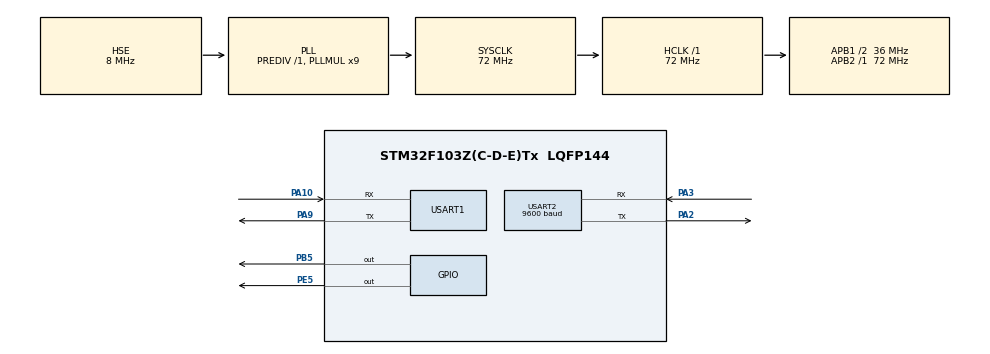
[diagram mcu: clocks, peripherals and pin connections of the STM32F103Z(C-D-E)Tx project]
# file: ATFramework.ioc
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Dma.Request0=USART2_RX
Dma.USART2_RX.0.Direction=DMA_PERIPH_TO_MEMORY
Dma.USART2_RX.0.Instance=DMA1_Channel6
Dma.USART2_RX.0.MemDataAlignment=DMA_MDATAALIGN_BYTE
Dma.USART2_RX.0.MemInc=DMA_MINC_ENABLE
Dma.USART2_RX.0.Mode=DMA_NORMAL
Dma.USART2_RX.0.PeriphDataAlignment=DMA_PDATAALIGN_BYTE
Dma.USART2_RX.0.PeriphInc=DMA_PINC_DISABLE
Dma.USART2_RX.0.Priority=DMA_PRIORITY_LOW
FREERTOS.Tasks01=defaultTask,0,128,StartDefaultTask,Default,NULL,Dynamic,NULL,NULL;LedTask,-2,128,LEDStartTask,Default,NULL,Dynamic,NULL,NULL;ATTask,0,128,ATStartTask,Default,NULL,Dynamic,NULL,NULL
Mcu.Family=STM32F1
Mcu.Name=STM32F103Z(C-D-E)Tx
Mcu.Package=LQFP144
NVIC.DMA1_Channel6_IRQn=true\:5\:0\:false\:false\:true\:true\:false\:true
NVIC.PriorityGroup=NVIC_PRIORITYGROUP_4
NVIC.TIM2_IRQn=true\:0\:0\:false\:false\:true\:false\:false\:true
NVIC.TimeBase=TIM2_IRQn
NVIC.TimeBaseIP=TIM2
NVIC.USART2_IRQn=true\:5\:0\:false\:false\:true\:true\:true\:true
OSC_IN.Mode=HSE-External-Oscillator
OSC_IN.Signal=RCC_OSC_IN
OSC_OUT.Mode=HSE-External-Oscillator
OSC_OUT.Signal=RCC_OSC_OUT
PA10.Mode=Asynchronous
PA10.Signal=USART1_RX
PA13.Mode=Serial_Wire
PA13.Signal=SYS_JTMS-SWDIO
PA14.Mode=Serial_Wire
PA14.Signal=SYS_JTCK-SWCLK
PA2.Mode=Asynchronous
PA2.Signal=USART2_TX
PA3.Mode=Asynchronous
PA3.Signal=USART2_RX
PA9.Mode=Asynchronous
PA9.Signal=USART1_TX
PB5.Signal=GPIO_Output
PE5.Signal=GPIO_Output
ProjectManager.HeapSize=0x1000
ProjectManager.StackSize=0x1000
ProjectManager.TargetToolchain=MDK-ARM V5
RCC.AHBFreq_Value=72000000
RCC.APB1CLKDivider=RCC_HCLK_DIV2
RCC.APB1Freq_Value=36000000
RCC.APB1TimFreq_Value=72000000
RCC.APB2Freq_Value=72000000
RCC.APB2TimFreq_Value=72000000
RCC.HCLKFreq_Value=72000000
RCC.PLLMUL=RCC_PLL_MUL9
RCC.PLLSourceVirtual=RCC_PLLSOURCE_HSE
RCC.SYSCLKFreq_VALUE=72000000
RCC.SYSCLKSource=RCC_SYSCLKSOURCE_PLLCLK
RCC.USBFreq_Value=72000000
USART1.VirtualMode=VM_ASYNC
USART2.BaudRate=9600
USART2.VirtualMode=VM_ASYNC
VP_FREERTOS_VS_CMSIS_V1.Mode=CMSIS_V1
VP_SYS_VS_tim2.Mode=TIM2
board=custom

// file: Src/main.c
/* USER CODE BEGIN Header */
/**
  ******************************************************************************
  * @file           : main.c
  * @brief          : Main program body
  ******************************************************************************
  * @attention
  *
  * <h2><center>&copy; Copyright (c) 2019 STMicroelectronics.
  * All rights reserved.</center></h2>
  *
  * This software component is licensed by ST under Ultimate Liberty license
  * SLA0044, the "License"; You may not use this file except in compliance with
  * the License. You may obtain a copy of the License at:
  *                             www.st.com/SLA0044
  *
  ******************************************************************************
  */
/* USER CODE END Header */

#include "main.h"
#include "cmsis_os.h"
#include "dma.h"
#include "usart.h"
#include "gpio.h"

/* USER CODE BEGIN Includes */
#include "Hardware.h"
#include <cm_backtrace.h>

#define HARDWARE_VERSION               "V1.0.0"
#define SOFTWARE_VERSION               "V0.1.0"

/* USER CODE END Includes */

void SystemClock_Config(void);
void MX_FREERTOS_Init(void);

int main(void)
{

  /* MCU Configuration--------------------------------------------------------*/

  /* Reset of all peripherals, Initializes the Flash interface and the Systick. */
  HAL_Init();

  /* Configure the system clock */
  SystemClock_Config();

  /* Initialize all configured peripherals */
  MX_GPIO_Init();
  MX_DMA_Init();
  MX_USART1_UART_Init();
  MX_USART2_UART_Init();
  /* USER CODE BEGIN 2 */
//	cm_backtrace_init("ATFramework", HARDWARE_VERSION, SOFTWARE_VERSION);
	printf("System initialize finish. Starting..\r\n");
	ATFormInit();

  /* USER CODE END 2 */

  /* Call init function for freertos objects (in freertos.c) */
  MX_FREERTOS_Init();

  /* Start scheduler */
  osKernelStart();

  /* We should never get here as control is now taken by the scheduler */

  /* Infinite loop */
  while (1)
  {

  }
}

void SystemClock_Config(void)
{
  RCC_OscInitTypeDef RCC_OscInitStruct = {0};
  RCC_ClkInitTypeDef RCC_ClkInitStruct = {0};

  /** Initializes the CPU, AHB and APB busses clocks
  */
  RCC_OscInitStruct.OscillatorType = RCC_OSCILLATORTYPE_HSE;
  RCC_OscInitStruct.HSEState = RCC_HSE_ON;
  RCC_OscInitStruct.HSEPredivValue = RCC_HSE_PREDIV_DIV1;
  RCC_OscInitStruct.HSIState = RCC_HSI_ON;
  RCC_OscInitStruct.PLL.PLLState = RCC_PLL_ON;
  RCC_OscInitStruct.PLL.PLLSource = RCC_PLLSOURCE_HSE;
  RCC_OscInitStruct.PLL.PLLMUL = RCC_PLL_MUL9;
  if (HAL_RCC_OscConfig(&RCC_OscInitStruct) != HAL_OK)
  {
    Error_Handler();
  }
  /** Initializes the CPU, AHB and APB busses clocks
  */
  RCC_ClkInitStruct.ClockType = RCC_CLOCKTYPE_HCLK|RCC_CLOCKTYPE_SYSCLK
                              |RCC_CLOCKTYPE_PCLK1|RCC_CLOCKTYPE_PCLK2;
  RCC_ClkInitStruct.SYSCLKSource = RCC_SYSCLKSOURCE_PLLCLK;
  RCC_ClkInitStruct.AHBCLKDivider = RCC_SYSCLK_DIV1;
  RCC_ClkInitStruct.APB1CLKDivider = RCC_HCLK_DIV2;
  RCC_ClkInitStruct.APB2CLKDivider = RCC_HCLK_DIV1;

  if (HAL_RCC_ClockConfig(&RCC_ClkInitStruct, FLASH_LATENCY_2) != HAL_OK)
  {
    Error_Handler();
  }
}

void HAL_TIM_PeriodElapsedCallback(TIM_HandleTypeDef *htim)
{
  if (htim->Instance == TIM2) {
    HAL_IncTick();
  }
}

void Error_Handler(void)
{
}

/************************ (C) COPYRIGHT STMicroelectronics *****END OF FILE****/

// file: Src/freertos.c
/* USER CODE BEGIN Header */
/**
  ******************************************************************************
  * File Name          : freertos.c
  * Description        : Code for freertos applications
  ******************************************************************************
  * @attention
  *
  * <h2><center>&copy; Copyright (c) 2019 STMicroelectronics.
  * All rights reserved.</center></h2>
  *
  * This software component is licensed by ST under Ultimate Liberty license
  * SLA0044, the "License"; You may not use this file except in compliance with
  * the License. You may obtain a copy of the License at:
  *                             www.st.com/SLA0044
  *
  ******************************************************************************
  */
/* USER CODE END Header */

#include "FreeRTOS.h"
#include "task.h"
#include "main.h"
#include "cmsis_os.h"

/* USER CODE BEGIN Includes */
#include <cm_backtrace.h>
#include "main.h"
#include "AT.h"

/* USER CODE END Includes */

osThreadId defaultTaskHandle;
osThreadId LedTaskHandle;
osThreadId ATTaskHandle;

void StartDefaultTask(void const * argument);
void LEDStartTask(void const * argument);
void ATStartTask(void const * argument);

void MX_FREERTOS_Init(void); /* (MISRA C 2004 rule 8.1) */

void MX_FREERTOS_Init(void) {

  /* Create the thread(s) */
  /* definition and creation of defaultTask */
  osThreadDef(defaultTask, StartDefaultTask, osPriorityNormal, 0, 128);
  defaultTaskHandle = osThreadCreate(osThread(defaultTask), NULL);

  /* definition and creation of LedTask */
  osThreadDef(LedTask, LEDStartTask, osPriorityLow, 0, 128);
  LedTaskHandle = osThreadCreate(osThread(LedTask), NULL);

  /* definition and creation of ATTask */
  osThreadDef(ATTask, ATStartTask, osPriorityNormal, 0, 128);
  ATTaskHandle = osThreadCreate(osThread(ATTask), NULL);

}

void StartDefaultTask(void const * argument)
{

  /* USER CODE BEGIN StartDefaultTask */
  /* Infinite loop */
  for(;;)
  {
	HAL_GPIO_TogglePin(GPIOE,GPIO_PIN_5);
    osDelay(200);

  }
  /* USER CODE END StartDefaultTask */
}

void LEDStartTask(void const * argument)
{
  /* USER CODE BEGIN LEDStartTask */

	ATCommandRegister(AT,EXEXCMD,NULL);
	ATCommandRegister(CSQ,EXEXCMD,NULL);
	ATCommandRegister(CGATT,WRITECMD,"1");
	ATCommandRegister(NSOCR,WRITECMD,"STREAM,6,4587,1,AF_INET");
	ATCommandRegister(NSOCO,WRITECMD,"1,180.97.81.180,58152");
  /* Infinite loop */
  for(;;)
  {

	ATCommandRegister(NSOSD,WRITECMD,"1,4,31323334");
    osDelay(5000);
  }
  /* USER CODE END LEDStartTask */
}

void ATStartTask(void const * argument)
{
  /* USER CODE BEGIN ATStartTask */
  /* Infinite loop */
  for(;;)
  {
	ATCommandSendScheduler();
//	uint8_t ch[2];
//	ring_buffer *rb;
//	rb_init(rb,128,ch);
  }
  /* USER CODE END ATStartTask */
}

/************************ (C) COPYRIGHT STMicroelectronics *****END OF FILE****/
